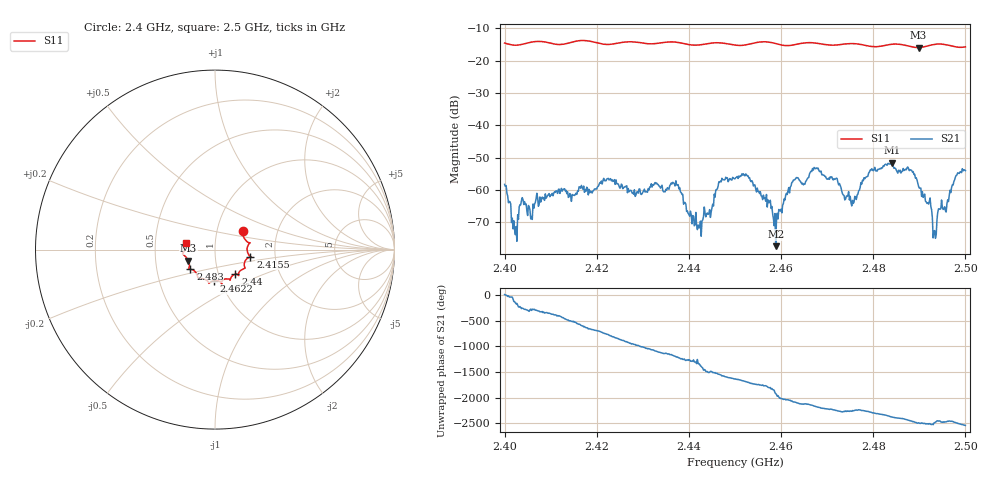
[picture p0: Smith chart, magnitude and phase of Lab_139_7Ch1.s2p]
# Hz S RI R 50
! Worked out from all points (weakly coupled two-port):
!   601 points, 2.4 GHz to 2.5 GHz, reference 50 ohm
!   highest |S21| = -51.48 dB at 2.484 GHz (marker M1); lowest = -77.3 dB at 2.4588 GHz (marker M2)
!   lowest |S11| = -15.9 dB at 2.4898 GHz (marker M3), VSWR 1.38, Z = 36.8 - j4.64 ohm
!   |S11| at or under -10 dB: start of sweep to end of sweep
!   S12 and S22 are empty: the file has one direction only
!   S11 on the Smith chart (normalised r, x): 2.4 GHz: 1.33, +0.29; 2.4155 GHz: 1.49, -0.12; 2.44 GHz: 1.20, -0.34; 2.4622 GHz: 0.93, -0.33; 2.483 GHz: 0.74, -0.17; 2.5 GHz: 0.72, +0.06
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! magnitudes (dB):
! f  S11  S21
! 2.4 GHz  -14.5  -58.2
! 2.4022 GHz  -15.2  -72.3
! 2.4038 GHz  -14.9  -62.3
! 2.4155 GHz  -13.9  -61.0
! 2.4167 GHz  -13.7  -58.6
! 2.4333 GHz  -14.6  -58.3
! 2.4372 GHz  -14.2  -57.1
! 2.44 GHz  -15.0  -67.6
! 2.4422 GHz  -15.1  -71.7
! 2.4468 GHz  -14.4  -57.2
! 2.45 GHz  -15.1  -56.5
! 2.4528 GHz  -14.9  -55.6
! 2.4588 GHz  -14.7  -77.3
! 2.4622 GHz  -15.2  -58.7
! 2.4667 GHz  -14.4  -54.2
! 2.4753 GHz  -14.7  -64.9
! 2.483 GHz  -15.1  -52.3
! 2.4833 GHz  -15.0  -51.8
! 2.484 GHz  -14.9  -51.5
! 2.4898 GHz  -15.9  -58.8
! 2.4933 GHz  -14.9  -72.5
! 2.5 GHz  -15.7  -54.0
